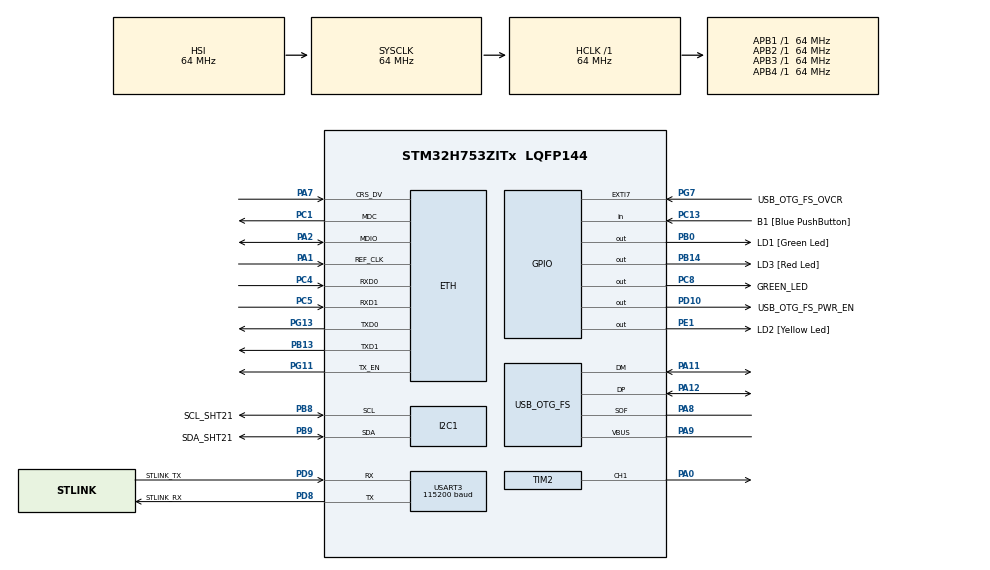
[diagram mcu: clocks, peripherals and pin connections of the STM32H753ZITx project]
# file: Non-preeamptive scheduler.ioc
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CORTEX_M7.CPU_DCache=Disabled
CORTEX_M7.CPU_ICache=Disabled
CORTEX_M7.MPU_Control=__NULL
ETH.ETH_RX_DESC_CNT=4
ETH.ETH_TX_DESC_CNT=4
ETH.MACAddr=00\:80\:E1\:00\:00\:00
ETH.MediaInterface=HAL_ETH_RMII_MODE
ETH.RxBuffAddress=0x30040200
ETH.RxBuffLen=1524
ETH.RxDescAddress=0x30040000
ETH.TxDescAddress=0x30040060
Mcu.Family=STM32H7
Mcu.Name=STM32H753ZITx
Mcu.Package=LQFP144
Mcu.UserConstants=T2_PRE,5000;T2_CNT,2000
NVIC.PriorityGroup=NVIC_PRIORITYGROUP_4
PA0.Signal=S_TIM2_CH1_ETR
PA1.Mode=RMII
PA1.Signal=ETH_REF_CLK
PA11.Mode=Device_Only
PA11.Signal=USB_OTG_FS_DM
PA12.Mode=Device_Only
PA12.Signal=USB_OTG_FS_DP
PA2.Mode=RMII
PA2.Signal=ETH_MDIO
PA7.Mode=RMII
PA7.Signal=ETH_CRS_DV
PA8.Mode=Activate_SOF_FS
PA8.Signal=USB_OTG_FS_SOF
PA9.Mode=Activate_VBUS
PA9.Signal=USB_OTG_FS_VBUS
PB0.GPIO_Label=LD1 [Green Led]
PB0.Signal=GPIO_Output
PB13.Mode=RMII
PB13.Signal=ETH_TXD1
PB14.GPIO_Label=LD3 [Red Led]
PB14.Signal=GPIO_Output
PB8.GPIO_Label=SCL_SHT21
PB8.GPIO_Pu=GPIO_NOPULL
PB8.GPIO_Speed=GPIO_SPEED_FREQ_MEDIUM
PB8.Mode=I2C
PB8.Signal=I2C1_SCL
PB9.GPIO_Label=SDA_SHT21
PB9.GPIO_Speed=GPIO_SPEED_FREQ_MEDIUM
PB9.Mode=I2C
PB9.Signal=I2C1_SDA
PC1.Mode=RMII
PC1.Signal=ETH_MDC
PC13.GPIO_Label=B1 [Blue PushButton]
PC13.Signal=GPIO_Input
PC14-OSC32_IN\ (OSC32_IN).Mode=LSE-External-Oscillator
PC14-OSC32_IN\ (OSC32_IN).Signal=RCC_OSC32_IN
PC15-OSC32_OUT\ (OSC32_OUT).Mode=LSE-External-Oscillator
PC15-OSC32_OUT\ (OSC32_OUT).Signal=RCC_OSC32_OUT
PC4.Mode=RMII
PC4.Signal=ETH_RXD0
PC5.Mode=RMII
PC5.Signal=ETH_RXD1
PC8.GPIO_Label=GREEN_LED
PC8.Signal=GPIO_Output
PD10.GPIO_Label=USB_OTG_FS_PWR_EN
PD10.Signal=GPIO_Output
PD8.GPIO_Label=STLINK_RX
PD8.Mode=Asynchronous
PD8.Signal=USART3_TX
PD9.GPIO_Label=STLINK_TX
PD9.Mode=Asynchronous
PD9.Signal=USART3_RX
PE1.GPIO_Label=LD2 [Yellow Led]
PE1.Signal=GPIO_Output
PG11.Mode=RMII
PG11.Signal=ETH_TX_EN
PG13.Mode=RMII
PG13.Signal=ETH_TXD0
PG7.GPIO_Label=USB_OTG_FS_OVCR
PG7.Signal=GPXTI7
PH0-OSC_IN\ (PH0).Mode=HSE-External-Clock-Source
PH0-OSC_IN\ (PH0).Signal=RCC_OSC_IN
PH1-OSC_OUT\ (PH1).Signal=RCC_OSC_OUT
ProjectManager.HeapSize=0x200
ProjectManager.StackSize=0x400
ProjectManager.TargetToolchain=STM32CubeIDE
RCC.ADCFreq_Value=16125000
RCC.APB1Freq_Value=64000000
RCC.APB2Freq_Value=64000000
RCC.APB3Freq_Value=64000000
RCC.APB4Freq_Value=64000000
RCC.CortexFreq_Value=64000000
RCC.DIVM1=1
RCC.DIVN1=24
RCC.DIVQ1=4
RCC.HCLKFreq_Value=64000000
RCC.HSE_VALUE=8000000
RCC.PLLFRACN=0
RCC.PWR_Regulator_Voltage_Scale=PWR_REGULATOR_VOLTAGE_SCALE2
RCC.SYSCLKFreq_VALUE=64000000
RCC.USBFreq_Value=48000000
SH.S_TIM2_CH1_ETR.0=TIM2_CH1,Output Compare1 CH1
TIM2.Channel-Output\ Compare1\ CH1=TIM_CHANNEL_1
TIM2.Period=T2_CNT
TIM2.Prescaler=T2_PRE
USART3.AutoBaudRateEnableParam=UART_ADVFEATURE_AUTOBAUDRATE_DISABLE
USART3.BaudRate=115200
USART3.ClockPrescaler=PRESCALER_DIV1
USART3.DMADisableonRxErrorParam=ADVFEATURE_DMA_ENABLEONRXERROR
USART3.DataInvertParam=ADVFEATURE_DATAINV_DISABLE
USART3.FIFOMode=FIFOMODE_DISABLE
USART3.MSBFirstParam=ADVFEATURE_MSBFIRST_DISABLE
USART3.Mode=MODE_TX_RX
USART3.OneBitSampling=UART_ONE_BIT_SAMPLE_DISABLE
USART3.OverSampling=UART_OVERSAMPLING_16
USART3.OverrunDisableParam=ADVFEATURE_OVERRUN_ENABLE
USART3.Parity=PARITY_NONE
USART3.RXFIFOThreshold=RXFIFO_THRESHOLD_1EIGHTHFULL
USART3.RxPinLevelInvertParam=ADVFEATURE_RXINV_DISABLE
USART3.StopBits=STOPBITS_1
USART3.SwapParam=ADVFEATURE_SWAP_DISABLE
USART3.TXFIFOThreshold=TXFIFO_THRESHOLD_1EIGHTHFULL
USART3.TxPinLevelInvertParam=ADVFEATURE_TXINV_DISABLE
USART3.VirtualMode-Asynchronous=VM_ASYNC
USART3.WordLength=WORDLENGTH_8B
USB_OTG_FS.Sof_enable=ENABLE
USB_OTG_FS.VirtualMode=Device_Only
USB_OTG_FS.battery_charging_enable=ENABLE
USB_OTG_FS.low_power_enable=DISABLE
USB_OTG_FS.lpm_enable=DISABLE
USB_OTG_FS.use_dedicated_ep1=DISABLE
USB_OTG_FS.vbus_sensing_enable=ENABLE
VP_TIM2_VS_ClockSourceINT.Mode=Internal
board=NUCLEO-H753ZI

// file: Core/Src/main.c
/* USER CODE BEGIN Header */
/**
  ******************************************************************************
  * @file           : main.c
  * @brief          : Main program body
  ******************************************************************************
  * @attention
  *
  * Copyright (c) 2024 STMicroelectronics.
  * All rights reserved.
  *
  * This software is licensed under terms that can be found in the LICENSE file
  * in the root directory of this software component.
  * If no LICENSE file comes with this software, it is provided AS-IS.
  *
  ******************************************************************************
  */
/* USER CODE END Header */
#include "main.h"
#include "string.h"

/* USER CODE BEGIN PD */
#define T3_PRE 7199
#define T3_CNT 4999
#define T2_PRE 7000
#define T2_CNT 4999
#define SHT21_ADDRESS 0x40
#define SHT21_CMD_TEMP 0xE3

/* USER CODE END PD */

#if defined ( __ICCARM__ ) /*!< IAR Compiler */
#pragma location=0x30040000
ETH_DMADescTypeDef  DMARxDscrTab[ETH_RX_DESC_CNT]; /* Ethernet Rx DMA Descriptors */
#pragma location=0x30040060
ETH_DMADescTypeDef  DMATxDscrTab[ETH_TX_DESC_CNT]; /* Ethernet Tx DMA Descriptors */

#elif defined ( __CC_ARM )  /* MDK ARM Compiler */

__attribute__((at(0x30040000))) ETH_DMADescTypeDef  DMARxDscrTab[ETH_RX_DESC_CNT]; /* Ethernet Rx DMA Descriptors */
__attribute__((at(0x30040060))) ETH_DMADescTypeDef  DMATxDscrTab[ETH_TX_DESC_CNT]; /* Ethernet Tx DMA Descriptors */

#elif defined ( __GNUC__ ) /* GNU Compiler */

ETH_DMADescTypeDef DMARxDscrTab[ETH_RX_DESC_CNT] __attribute__((section(".RxDecripSection"))); /* Ethernet Rx DMA Descriptors */
ETH_DMADescTypeDef DMATxDscrTab[ETH_TX_DESC_CNT] __attribute__((section(".TxDecripSection")));   /* Ethernet Tx DMA Descriptors */
#endif

ETH_TxPacketConfig TxConfig;

ETH_HandleTypeDef heth;

I2C_HandleTypeDef hi2c1;

TIM_HandleTypeDef htim2;

UART_HandleTypeDef huart3;

PCD_HandleTypeDef hpcd_USB_OTG_FS;

/* USER CODE BEGIN PV */

//uint8_t p[] = "Hello \r\n";
char sensor[50];
char polje[] = "Hello \n\r";
//= "Hello\n\r";
int readTemperature();
void (*ptr[5])(void*) = {&Blink_Led, &Message, &Sensor};

task1 t1;
task2 t2;
task3 t3;
uint8_t temp[5];
uint8_t t = 0;
uint8_t h = 0;
int temperatura;
int vlaga;

void sch();
void values();

/* USER CODE END PV */

void SystemClock_Config(void);
static void MX_GPIO_Init(void);
static void MX_ETH_Init(void);
static void MX_USART3_UART_Init(void);
static void MX_USB_OTG_FS_PCD_Init(void);
static void MX_TIM2_Init(void);
static void MX_I2C1_Init(void);

int main(void)
{

  /* USER CODE BEGIN 1 */
	t1.current_millis = 0;
	t1.task1_period = 1;
	t2.current_millis2 = 0;
	t2.task2_period = 5;
	t3.current_millis3 = 0;
	t3.task3_period = 10;
  /* USER CODE END 1 */

  /* MCU Configuration--------------------------------------------------------*/

  /* Reset of all peripherals, Initializes the Flash interface and the Systick. */
  HAL_Init();

  /* Configure the system clock */
  SystemClock_Config();

  /* Initialize all configured peripherals */
  MX_GPIO_Init();
  MX_ETH_Init();
  MX_USART3_UART_Init();
  MX_USB_OTG_FS_PCD_Init();
  MX_TIM2_Init();
  MX_I2C1_Init();
  /* USER CODE BEGIN 2 */

  htim2.Init.Period = T2_PRE;

  HAL_TIM_Base_Start(&htim2);

  /* USER CODE END 2 */

  /* Infinite loop */
  while (1)
  {

    /* USER CODE BEGIN 3 */
	 // timer_val = HAL_GetTick();

	  sch();

	//  int len = sprintf(uart_buff, "%u \n\r", timer_val);
	 // HAL_UART_Transmit(&huart3, (uint8_t *)uart_buff, len, 1000);

  }
  /* USER CODE END 3 */
}

void SystemClock_Config(void)
{
  RCC_OscInitTypeDef RCC_OscInitStruct = {0};
  RCC_ClkInitTypeDef RCC_ClkInitStruct = {0};

  /** Supply configuration update enable
  */
  HAL_PWREx_ConfigSupply(PWR_LDO_SUPPLY);

  /** Configure the main internal regulator output voltage
  */
  __HAL_PWR_VOLTAGESCALING_CONFIG(PWR_REGULATOR_VOLTAGE_SCALE2);

  while(!__HAL_PWR_GET_FLAG(PWR_FLAG_VOSRDY)) {}

  /** Initializes the RCC Oscillators according to the specified parameters
  * in the RCC_OscInitTypeDef structure.
  */
  RCC_OscInitStruct.OscillatorType = RCC_OSCILLATORTYPE_HSI|RCC_OSCILLATORTYPE_HSE;
  RCC_OscInitStruct.HSEState = RCC_HSE_BYPASS;
  RCC_OscInitStruct.HSIState = RCC_HSI_DIV1;
  RCC_OscInitStruct.HSICalibrationValue = RCC_HSICALIBRATION_DEFAULT;
  RCC_OscInitStruct.PLL.PLLState = RCC_PLL_ON;
  RCC_OscInitStruct.PLL.PLLSource = RCC_PLLSOURCE_HSE;
  RCC_OscInitStruct.PLL.PLLM = 1;
  RCC_OscInitStruct.PLL.PLLN = 24;
  RCC_OscInitStruct.PLL.PLLP = 2;
  RCC_OscInitStruct.PLL.PLLQ = 4;
  RCC_OscInitStruct.PLL.PLLR = 2;
  RCC_OscInitStruct.PLL.PLLRGE = RCC_PLL1VCIRANGE_3;
  RCC_OscInitStruct.PLL.PLLVCOSEL = RCC_PLL1VCOWIDE;
  RCC_OscInitStruct.PLL.PLLFRACN = 0;
  if (HAL_RCC_OscConfig(&RCC_OscInitStruct) != HAL_OK)
  {
    Error_Handler();
  }

  /** Initializes the CPU, AHB and APB buses clocks
  */
  RCC_ClkInitStruct.ClockType = RCC_CLOCKTYPE_HCLK|RCC_CLOCKTYPE_SYSCLK
                              |RCC_CLOCKTYPE_PCLK1|RCC_CLOCKTYPE_PCLK2
                              |RCC_CLOCKTYPE_D3PCLK1|RCC_CLOCKTYPE_D1PCLK1;
  RCC_ClkInitStruct.SYSCLKSource = RCC_SYSCLKSOURCE_HSI;
  RCC_ClkInitStruct.SYSCLKDivider = RCC_SYSCLK_DIV1;
  RCC_ClkInitStruct.AHBCLKDivider = RCC_HCLK_DIV1;
  RCC_ClkInitStruct.APB3CLKDivider = RCC_APB3_DIV1;
  RCC_ClkInitStruct.APB1CLKDivider = RCC_APB1_DIV1;
  RCC_ClkInitStruct.APB2CLKDivider = RCC_APB2_DIV1;
  RCC_ClkInitStruct.APB4CLKDivider = RCC_APB4_DIV1;

  if (HAL_RCC_ClockConfig(&RCC_ClkInitStruct, FLASH_LATENCY_1) != HAL_OK)
  {
    Error_Handler();
  }
}

static void MX_ETH_Init(void)
{

   static uint8_t MACAddr[6];

  heth.Instance = ETH;
  MACAddr[0] = 0x00;
  MACAddr[1] = 0x80;
  MACAddr[2] = 0xE1;
  MACAddr[3] = 0x00;
  MACAddr[4] = 0x00;
  MACAddr[5] = 0x00;
  heth.Init.MACAddr = &MACAddr[0];
  heth.Init.MediaInterface = HAL_ETH_RMII_MODE;
  heth.Init.TxDesc = DMATxDscrTab;
  heth.Init.RxDesc = DMARxDscrTab;
  heth.Init.RxBuffLen = 1524;

  if (HAL_ETH_Init(&heth) != HAL_OK)
  {
    Error_Handler();
  }

  memset(&TxConfig, 0 , sizeof(ETH_TxPacketConfig));
  TxConfig.Attributes = ETH_TX_PACKETS_FEATURES_CSUM | ETH_TX_PACKETS_FEATURES_CRCPAD;
  TxConfig.ChecksumCtrl = ETH_CHECKSUM_IPHDR_PAYLOAD_INSERT_PHDR_CALC;
  TxConfig.CRCPadCtrl = ETH_CRC_PAD_INSERT;

}

static void MX_I2C1_Init(void)
{

  hi2c1.Instance = I2C1;
  hi2c1.Init.Timing = 0x10707DBC;
  hi2c1.Init.OwnAddress1 = 0;
  hi2c1.Init.AddressingMode = I2C_ADDRESSINGMODE_7BIT;
  hi2c1.Init.DualAddressMode = I2C_DUALADDRESS_DISABLE;
  hi2c1.Init.OwnAddress2 = 0;
  hi2c1.Init.OwnAddress2Masks = I2C_OA2_NOMASK;
  hi2c1.Init.GeneralCallMode = I2C_GENERALCALL_DISABLE;
  hi2c1.Init.NoStretchMode = I2C_NOSTRETCH_DISABLE;
  if (HAL_I2C_Init(&hi2c1) != HAL_OK)
  {
    Error_Handler();
  }

  /** Configure Analogue filter
  */
  if (HAL_I2CEx_ConfigAnalogFilter(&hi2c1, I2C_ANALOGFILTER_ENABLE) != HAL_OK)
  {
    Error_Handler();
  }

  /** Configure Digital filter
  */
  if (HAL_I2CEx_ConfigDigitalFilter(&hi2c1, 0) != HAL_OK)
  {
    Error_Handler();
  }

}

static void MX_TIM2_Init(void)
{

  TIM_ClockConfigTypeDef sClockSourceConfig = {0};
  TIM_MasterConfigTypeDef sMasterConfig = {0};
  TIM_OC_InitTypeDef sConfigOC = {0};

  htim2.Instance = TIM2;
  htim2.Init.Prescaler = T2_PRE;
  htim2.Init.CounterMode = TIM_COUNTERMODE_UP;
  htim2.Init.Period = T2_CNT;
  htim2.Init.ClockDivision = TIM_CLOCKDIVISION_DIV1;
  htim2.Init.AutoReloadPreload = TIM_AUTORELOAD_PRELOAD_DISABLE;
  if (HAL_TIM_Base_Init(&htim2) != HAL_OK)
  {
    Error_Handler();
  }
  sClockSourceConfig.ClockSource = TIM_CLOCKSOURCE_INTERNAL;
  if (HAL_TIM_ConfigClockSource(&htim2, &sClockSourceConfig) != HAL_OK)
  {
    Error_Handler();
  }
  if (HAL_TIM_OC_Init(&htim2) != HAL_OK)
  {
    Error_Handler();
  }
  sMasterConfig.MasterOutputTrigger = TIM_TRGO_RESET;
  sMasterConfig.MasterSlaveMode = TIM_MASTERSLAVEMODE_DISABLE;
  if (HAL_TIMEx_MasterConfigSynchronization(&htim2, &sMasterConfig) != HAL_OK)
  {
    Error_Handler();
  }
  sConfigOC.OCMode = TIM_OCMODE_TIMING;
  sConfigOC.Pulse = 0;
  sConfigOC.OCPolarity = TIM_OCPOLARITY_HIGH;
  sConfigOC.OCFastMode = TIM_OCFAST_DISABLE;
  if (HAL_TIM_OC_ConfigChannel(&htim2, &sConfigOC, TIM_CHANNEL_1) != HAL_OK)
  {
    Error_Handler();
  }
  HAL_TIM_MspPostInit(&htim2);

}

static void MX_USART3_UART_Init(void)
{

  huart3.Instance = USART3;
  huart3.Init.BaudRate = 115200;
  huart3.Init.WordLength = UART_WORDLENGTH_8B;
  huart3.Init.StopBits = UART_STOPBITS_1;
  huart3.Init.Parity = UART_PARITY_NONE;
  huart3.Init.Mode = UART_MODE_TX_RX;
  huart3.Init.HwFlowCtl = UART_HWCONTROL_NONE;
  huart3.Init.OverSampling = UART_OVERSAMPLING_16;
  huart3.Init.OneBitSampling = UART_ONE_BIT_SAMPLE_DISABLE;
  huart3.Init.ClockPrescaler = UART_PRESCALER_DIV1;
  huart3.AdvancedInit.AdvFeatureInit = UART_ADVFEATURE_NO_INIT;
  if (HAL_UART_Init(&huart3) != HAL_OK)
  {
    Error_Handler();
  }
  if (HAL_UARTEx_SetTxFifoThreshold(&huart3, UART_TXFIFO_THRESHOLD_1_8) != HAL_OK)
  {
    Error_Handler();
  }
  if (HAL_UARTEx_SetRxFifoThreshold(&huart3, UART_RXFIFO_THRESHOLD_1_8) != HAL_OK)
  {
    Error_Handler();
  }
  if (HAL_UARTEx_DisableFifoMode(&huart3) != HAL_OK)
  {
    Error_Handler();
  }

}

static void MX_USB_OTG_FS_PCD_Init(void)
{

  hpcd_USB_OTG_FS.Instance = USB_OTG_FS;
  hpcd_USB_OTG_FS.Init.dev_endpoints = 9;
  hpcd_USB_OTG_FS.Init.speed = PCD_SPEED_FULL;
  hpcd_USB_OTG_FS.Init.dma_enable = DISABLE;
  hpcd_USB_OTG_FS.Init.phy_itface = PCD_PHY_EMBEDDED;
  hpcd_USB_OTG_FS.Init.Sof_enable = ENABLE;
  hpcd_USB_OTG_FS.Init.low_power_enable = DISABLE;
  hpcd_USB_OTG_FS.Init.lpm_enable = DISABLE;
  hpcd_USB_OTG_FS.Init.battery_charging_enable = ENABLE;
  hpcd_USB_OTG_FS.Init.vbus_sensing_enable = ENABLE;
  hpcd_USB_OTG_FS.Init.use_dedicated_ep1 = DISABLE;
  if (HAL_PCD_Init(&hpcd_USB_OTG_FS) != HAL_OK)
  {
    Error_Handler();
  }

}

static void MX_GPIO_Init(void)
{
  GPIO_InitTypeDef GPIO_InitStruct = {0};

  /* GPIO Ports Clock Enable */
  __HAL_RCC_GPIOC_CLK_ENABLE();
  __HAL_RCC_GPIOH_CLK_ENABLE();
  __HAL_RCC_GPIOA_CLK_ENABLE();
  __HAL_RCC_GPIOB_CLK_ENABLE();
  __HAL_RCC_GPIOD_CLK_ENABLE();
  __HAL_RCC_GPIOG_CLK_ENABLE();
  __HAL_RCC_GPIOE_CLK_ENABLE();

  /*Configure GPIO pin Output Level */
  HAL_GPIO_WritePin(GPIOB, LD1_Pin|LD3_Pin, GPIO_PIN_RESET);

  /*Configure GPIO pin Output Level */
  HAL_GPIO_WritePin(USB_OTG_FS_PWR_EN_GPIO_Port, USB_OTG_FS_PWR_EN_Pin, GPIO_PIN_RESET);

  /*Configure GPIO pin Output Level */
  HAL_GPIO_WritePin(GREEN_LED_GPIO_Port, GREEN_LED_Pin, GPIO_PIN_RESET);

  /*Configure GPIO pin Output Level */
  HAL_GPIO_WritePin(LD2_GPIO_Port, LD2_Pin, GPIO_PIN_RESET);

  /*Configure GPIO pin : B1_Pin */
  GPIO_InitStruct.Pin = B1_Pin;
  GPIO_InitStruct.Mode = GPIO_MODE_INPUT;
  GPIO_InitStruct.Pull = GPIO_NOPULL;
  HAL_GPIO_Init(B1_GPIO_Port, &GPIO_InitStruct);

  /*Configure GPIO pins : LD1_Pin LD3_Pin */
  GPIO_InitStruct.Pin = LD1_Pin|LD3_Pin;
  GPIO_InitStruct.Mode = GPIO_MODE_OUTPUT_PP;
  GPIO_InitStruct.Pull = GPIO_NOPULL;
  GPIO_InitStruct.Speed = GPIO_SPEED_FREQ_LOW;
  HAL_GPIO_Init(GPIOB, &GPIO_InitStruct);

  /*Configure GPIO pin : USB_OTG_FS_PWR_EN_Pin */
  GPIO_InitStruct.Pin = USB_OTG_FS_PWR_EN_Pin;
  GPIO_InitStruct.Mode = GPIO_MODE_OUTPUT_PP;
  GPIO_InitStruct.Pull = GPIO_NOPULL;
  GPIO_InitStruct.Speed = GPIO_SPEED_FREQ_LOW;
  HAL_GPIO_Init(USB_OTG_FS_PWR_EN_GPIO_Port, &GPIO_InitStruct);

  /*Configure GPIO pin : USB_OTG_FS_OVCR_Pin */
  GPIO_InitStruct.Pin = USB_OTG_FS_OVCR_Pin;
  GPIO_InitStruct.Mode = GPIO_MODE_IT_RISING;
  GPIO_InitStruct.Pull = GPIO_NOPULL;
  HAL_GPIO_Init(USB_OTG_FS_OVCR_GPIO_Port, &GPIO_InitStruct);

  /*Configure GPIO pin : GREEN_LED_Pin */
  GPIO_InitStruct.Pin = GREEN_LED_Pin;
  GPIO_InitStruct.Mode = GPIO_MODE_OUTPUT_PP;
  GPIO_InitStruct.Pull = GPIO_NOPULL;
  GPIO_InitStruct.Speed = GPIO_SPEED_FREQ_LOW;
  HAL_GPIO_Init(GREEN_LED_GPIO_Port, &GPIO_InitStruct);

  /*Configure GPIO pin : LD2_Pin */
  GPIO_InitStruct.Pin = LD2_Pin;
  GPIO_InitStruct.Mode = GPIO_MODE_OUTPUT_PP;
  GPIO_InitStruct.Pull = GPIO_NOPULL;
  GPIO_InitStruct.Speed = GPIO_SPEED_FREQ_LOW;
  HAL_GPIO_Init(LD2_GPIO_Port, &GPIO_InitStruct);

}

/* USER CODE BEGIN 4 */

void Blink_Led(void *arg)
{
	if(arg == NULL) return;

	HAL_GPIO_TogglePin(GPIOC, GPIO_PIN_8);

}

void Message(void *arg2)
{
	if(arg2 == NULL) return;
//	mojHandler2->htim;

	//sprintf(polje, " %d", polje);
	HAL_UART_Transmit(&huart3, (uint8_t *)polje, strlen(polje), 1000);
	//	printf()

}

void Sensor(void *arg3)
{
	if(arg3 == NULL) return;

	int temperature = readTemperature();
	if(temperature != -999.0)
	{
		char buffer[50];
		int len = sniprintf(buffer, sizeof(buffer), "Temperatura je %d", temperature);
		HAL_UART_Transmit(&huart3,(uint8_t *)buffer, len, 1000);
	}

	//	int len =  sniprintf(temp,sizeof(temp), "Temp: %d", vlaga, temperatura);
		//HAL_UART_Transmit(&huart3,(uint8_t *)temp, len, 1000);

}

int readTemperature()
{
	uint8_t tempdata[2]; //array u koji stavljam o�?itane podatke sa senzora

	HAL_I2C_Master_Transmit(&hi2c1, SHT21_ADDRESS << 1, (uint8_t *)SHT21_CMD_TEMP, 1, 1000); //0xE3 je komanda za ocitanje sa senzora, 1 je broj bajtova koji saljemo
	HAL_I2C_Master_Receive(&hi2c1, SHT21_ADDRESS << 1, tempdata, 2, 1000);
	uint16_t rawtemp = (tempdata[0] << 8) | tempdata[1];
	rawtemp &= ~0x0003;
	return -46.85 + 175.72 *(rawtemp / 65536.0);
}

void sch()
{

	  if(((unsigned long)(__HAL_TIM_GET_COUNTER(&htim2)) - t1.current_millis) > t1.task1_period)
	  {
		  ptr[0](&t1);
		  t1.current_millis = __HAL_TIM_GET_COUNTER(&htim2);

	  }
	  if(((unsigned long)(__HAL_TIM_GET_COUNTER(&htim2)) - t2.current_millis2) > t2.task2_period)
	  {
		  ptr[1](&t2);
		  t2.current_millis2 = __HAL_TIM_GET_COUNTER(&htim2);

	  }
	  if(((unsigned long)(__HAL_TIM_GET_COUNTER(&htim2))- t3.current_millis3) > t3.task3_period)
	  {
		  ptr[2](&t3);
		  t3.current_millis3 = __HAL_TIM_GET_COUNTER(&htim2);

	  }
}

/*void message()
{
	char buffer[10];
	uint8_t len = sprintf(buffer , "Hello \n\r ", buffer);
	HAL_UART_Transmit(&huart3, (uint8_t *)buffer, sizeof(buffer), 1000);
}

void Non_Preamtive_Scheduler()
{
	HAL_TIM_Base_Start_IT(&huart3);
	TIM_HandleTypeDef htim3;
	htim3.Intit.Period = 100;
}
*/
/* USER CODE END 4 */

void Error_Handler(void)
{
  __disable_irq();
  while (1)
  {
  }
}
